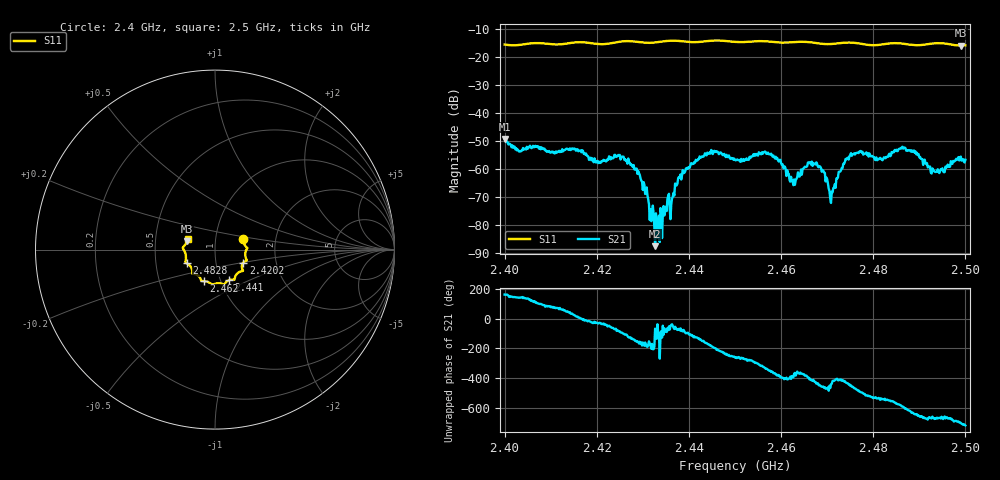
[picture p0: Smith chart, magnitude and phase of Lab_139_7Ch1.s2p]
# Hz S RI R 50
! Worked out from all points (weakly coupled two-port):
!   601 points, 2.4 GHz to 2.5 GHz, reference 50 ohm
!   highest |S21| = -49.20 dB at 2.4 GHz (marker M1); lowest = -87.6 dB at 2.4327 GHz (marker M2)
!   lowest |S11| = -15.8 dB at 2.499 GHz (marker M3), VSWR 1.39, Z = 36.4 + j3.52 ohm
!   |S11| at or under -10 dB: start of sweep to end of sweep
!   S12 and S22 are empty: the file has one direction only
!   S11 on the Smith chart (normalised r, x): 2.4 GHz: 1.36, +0.17; 2.4202 GHz: 1.36, -0.20; 2.441 GHz: 1.10, -0.39; 2.462 GHz: 0.83, -0.30; 2.4828 GHz: 0.72, -0.11; 2.5 GHz: 0.73, +0.09
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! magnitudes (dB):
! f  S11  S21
! 2.4 GHz  -15.4  -49.2
! 2.4032 GHz  -15.6  -53.7
! 2.4167 GHz  -14.6  -54.0
! 2.4202 GHz  -15.2  -57.1
! 2.4273 GHz  -14.2  -58.5
! 2.4327 GHz  -14.7  -87.6
! 2.4333 GHz  -14.5  -80.9
! 2.441 GHz  -14.6  -58.1
! 2.4453 GHz  -14.0  -53.8
! 2.45 GHz  -14.4  -56.7
! 2.4567 GHz  -14.2  -53.9
! 2.462 GHz  -14.6  -64.5
! 2.4667 GHz  -14.6  -57.3
! 2.469 GHz  -15.1  -60.3
! 2.4708 GHz  -15.2  -72.1
! 2.4753 GHz  -14.7  -55.2
! 2.4828 GHz  -15.1  -55.6
! 2.4833 GHz  -15.0  -54.9
! 2.4865 GHz  -15.1  -52.7
! 2.4938 GHz  -14.9  -60.9
! 2.499 GHz  -15.8  -55.5
! 2.5 GHz  -15.7  -56.7
